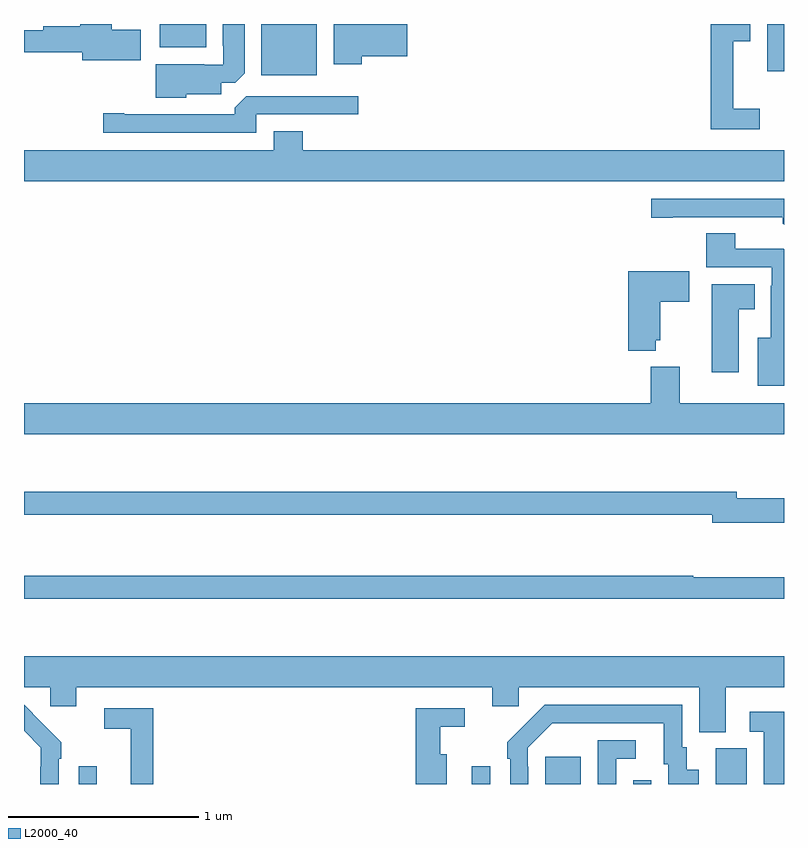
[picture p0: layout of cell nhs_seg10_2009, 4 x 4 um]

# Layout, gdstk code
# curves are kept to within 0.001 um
import gdstk
lib = gdstk.Library(unit=1e-6, precision=1e-09)
def R(c, l, rs):  # rectangles x0, y0, x1, y1
    for r in rs: c.add(gdstk.rectangle(r[:2], r[2:], *l))
def P(c, l, *ps):  # polygons
    for p in ps: c.add(gdstk.Polygon(p, *l))
L2000_40 = (2000, 40)

nhs_seg10_2009 = lib.new_cell('nhs_seg10_2009')
R(nhs_seg10_2009, L2000_40, [(217.287,1274.5,217.383,1274.593), (219.357,1274.5,219.453,1274.593), (219.743,1274.5,219.931,1274.644), (220.206,1274.5,220.302,1274.521), (220.64,1274.5,220.804,1274.688), (218.249,1278.23,218.542,1278.5), (220.911,1278.252,221,1278.5), (217.715,1278.377,217.96,1278.5)])
P(nhs_seg10_2009, L2000_40, [(217.854,1278.131),(218.038,1278.131),(218.038,1278.192),(218.112,1278.192),(218.161,1278.241),(218.161,1278.5),(218.045,1278.5),(218.045,1278.385),(218.049,1278.385),(218.049,1278.285),(217.949,1278.285),(217.949,1278.289),(217.694,1278.289),(217.694,1278.113),(217.854,1278.113)],
  [(218.777,1278.329),(219.016,1278.329),(219.016,1278.5),(218.63,1278.5),(218.63,1278.288),(218.777,1278.288)],
  [(220.873,1278.055),(220.733,1278.055),(220.733,1278.41),(220.822,1278.41),(220.822,1278.5),(220.615,1278.5),(220.615,1277.946),(220.873,1277.946)],
  [(217.615,1278.471),(217.462,1278.471),(217.462,1278.5),(217.295,1278.5),(217.295,1278.488),(217.102,1278.488),(217.102,1278.468),(217,1278.468),(217,1278.352),(217.307,1278.352),(217.307,1278.308),(217.615,1278.308)],
  [(218.223,1278.024),(218.758,1278.024),(218.758,1278.12),(218.169,1278.12),(218.108,1278.058),(218.108,1278.024),(217.528,1278.024),(217.528,1278.029),(217.416,1278.029),(217.416,1277.928),(218.223,1277.928)],
  [(221,1277.836),(218.468,1277.836),(218.468,1277.935),(218.315,1277.935),(218.315,1277.836),(217,1277.836),(217,1277.672),(221,1277.672)],
  [(221,1277.58),(220.302,1277.58),(220.302,1277.479),(220.414,1277.479),(220.414,1277.484),(220.994,1277.484),(220.994,1277.45),(221,1277.444)],
  [(221,1277.314),(220.998,1277.316),(220.744,1277.316),(220.744,1277.399),(220.592,1277.399),(220.592,1277.22),(220.935,1277.22),(220.935,1277.123),(220.931,1277.123),(220.931,1276.849),(220.862,1276.849),(220.862,1276.595),(221,1276.595)],
  [(220.326,1276.835),(220.348,1276.835),(220.348,1277.038),(220.501,1277.038),(220.501,1277.2),(220.181,1277.2),(220.181,1276.781),(220.326,1276.781)],
  [(220.762,1277),(220.846,1277),(220.846,1277.131),(220.619,1277.131),(220.619,1276.668),(220.762,1276.668)],
  [(221,1276.504),(220.45,1276.504),(220.45,1276.696),(220.298,1276.696),(220.298,1276.504),(217,1276.504),(217,1276.34),(221,1276.34)],
  [(221,1276.005),(220.75,1276.005),(220.75,1276.039),(217,1276.039),(217,1275.918),(220.622,1275.918),(220.622,1275.875),(221,1275.875)],
  [(221,1275.587),(220.522,1275.587),(220.522,1275.595),(217,1275.595),(217,1275.474),(221,1275.474)],
  [(220.693,1275.008),(221,1275.008),(221,1275.172),(217,1275.172),(217,1275.008),(217.137,1275.008),(217.137,1274.91),(217.276,1274.91),(217.276,1275.008),(219.464,1275.008),(219.464,1274.91),(219.603,1274.91),(219.603,1275.008),(220.553,1275.008),(220.553,1274.773),(220.693,1274.773)],
  [(219.654,1274.591),(219.651,1274.591),(219.651,1274.691),(219.78,1274.82),(220.367,1274.82),(220.367,1274.604),(220.391,1274.604),(220.391,1274.5),(220.552,1274.5),(220.552,1274.575),(220.489,1274.575),(220.489,1274.694),(220.464,1274.694),(220.464,1274.916),(219.74,1274.916),(219.543,1274.721),(219.543,1274.633),(219.558,1274.633),(219.558,1274.5),(219.654,1274.5)],
  [(217.182,1274.633),(217.197,1274.633),(217.197,1274.721),(217.092,1274.826),(217.091,1274.825),(217,1274.916),(217,1274.781),(217.089,1274.691),(217.089,1274.591),(217.086,1274.591),(217.086,1274.5),(217.182,1274.5)],
  [(219.226,1274.656),(219.19,1274.656),(219.19,1274.801),(219.319,1274.801),(219.319,1274.898),(219.061,1274.898),(219.061,1274.5),(219.226,1274.5)],
  [(217.679,1274.898),(217.422,1274.898),(217.422,1274.79),(217.562,1274.79),(217.562,1274.5),(217.679,1274.5)],
  [(221,1274.881),(220.821,1274.881),(220.821,1274.775),(220.893,1274.775),(220.893,1274.5),(221,1274.5)],
  [(220.116,1274.634),(220.219,1274.634),(220.219,1274.73),(220.02,1274.73),(220.02,1274.5),(220.116,1274.5)])

lib.write_gds('nhs_seg10_2009.gds')
